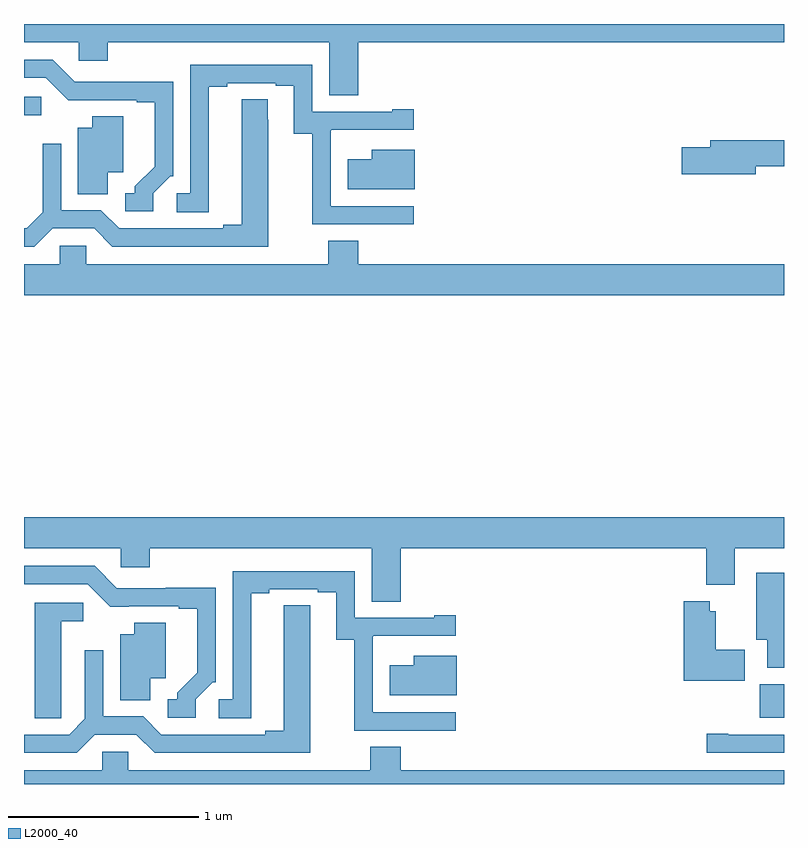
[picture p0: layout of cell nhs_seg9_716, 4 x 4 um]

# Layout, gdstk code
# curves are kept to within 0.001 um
import gdstk
lib = gdstk.Library(unit=1e-6, precision=1e-09)
def R(c, l, rs):  # rectangles x0, y0, x1, y1
    for r in rs: c.add(gdstk.rectangle(r[:2], r[2:], *l))
def P(c, l, *ps):  # polygons
    for p in ps: c.add(gdstk.Polygon(p, *l))
L2000_40 = (2000, 40)

nhs_seg9_716 = lib.new_cell('nhs_seg9_716')
R(nhs_seg9_716, L2000_40, [(150.872,1208.849,151,1209.025), (147,1212.02,147.091,1212.117)])
P(nhs_seg9_716, L2000_40, [(148.76,1212.404),(151,1212.404),(151,1212.5),(147,1212.5),(147,1212.404),(147.288,1212.404),(147.288,1212.306),(147.44,1212.306),(147.44,1212.404),(148.607,1212.404),(148.607,1212.124),(148.76,1212.124)],
  [(147.681,1211.61),(147.771,1211.7),(147.786,1211.7),(147.786,1212.197),(147.523,1212.197),(147.523,1212.195),(147.267,1212.195),(147.15,1212.312),(147,1212.312),(147,1212.216),(147.114,1212.216),(147.232,1212.098),(147.593,1212.099),(147.593,1212.087),(147.689,1212.087),(147.689,1211.75),(147.584,1211.645),(147.584,1211.61),(147.534,1211.61),(147.534,1211.514),(147.681,1211.514)],
  [(149.05,1211.541),(148.614,1211.541),(148.614,1211.942),(148.616,1211.942),(148.616,1211.943),(149.05,1211.943),(149.05,1212.052),(148.937,1212.052),(148.937,1212.039),(148.518,1212.039),(148.518,1212.285),(147.876,1212.285),(147.876,1211.61),(147.804,1211.61),(147.804,1211.509),(147.973,1211.509),(147.973,1212.169),(148.069,1212.169),(148.069,1212.189),(148.325,1212.189),(148.325,1212.174),(148.421,1212.174),(148.421,1211.923),(148.516,1211.923),(148.516,1211.445),(149.05,1211.445)],
  [(147.151,1211.424),(147.369,1211.424),(147.465,1211.328),(148.285,1211.328),(148.284,1212.104),(148.145,1212.104),(148.145,1211.444),(148.049,1211.444),(148.049,1211.424),(147.501,1211.424),(147.405,1211.52),(147.195,1211.52),(147.195,1211.869),(147.099,1211.869),(147.099,1211.508),(147.015,1211.424),(147,1211.424),(147,1211.328),(147.055,1211.328)],
  [(147.442,1211.72),(147.523,1211.72),(147.523,1212.014),(147.359,1212.014),(147.359,1211.953),(147.284,1211.953),(147.284,1211.605),(147.442,1211.605)],
  [(150.85,1211.752),(151,1211.752),(151,1211.888),(150.611,1211.888),(150.611,1211.852),(150.462,1211.852),(150.462,1211.71),(150.85,1211.71)],
  [(149.056,1211.839),(148.829,1211.839),(148.829,1211.788),(148.704,1211.788),(148.704,1211.63),(149.056,1211.63)],
  [(151,1211.236),(148.76,1211.236),(148.76,1211.36),(148.6,1211.36),(148.6,1211.236),(147.327,1211.236),(147.327,1211.334),(147.189,1211.334),(147.189,1211.236),(147,1211.236),(147,1211.072),(151,1211.072)],
  [(148.982,1209.74),(150.59,1209.74),(150.59,1209.548),(150.742,1209.548),(150.742,1209.74),(151,1209.74),(151,1209.904),(147,1209.904),(147,1209.74),(147.51,1209.74),(147.51,1209.642),(147.662,1209.642),(147.662,1209.74),(148.829,1209.74),(148.829,1209.46),(148.982,1209.46)],
  [(147.903,1208.946),(147.993,1209.036),(148.008,1209.036),(148.008,1209.533),(147.745,1209.533),(147.745,1209.531),(147.489,1209.531),(147.372,1209.648),(147,1209.648),(147,1209.552),(147.336,1209.552),(147.454,1209.434),(147.815,1209.435),(147.815,1209.423),(147.911,1209.423),(147.911,1209.086),(147.806,1208.981),(147.806,1208.946),(147.756,1208.946),(147.756,1208.85),(147.903,1208.85)],
  [(149.272,1208.877),(148.836,1208.877),(148.836,1209.278),(148.838,1209.278),(148.838,1209.279),(149.272,1209.279),(149.272,1209.388),(149.159,1209.388),(149.159,1209.375),(148.74,1209.375),(148.74,1209.621),(148.098,1209.621),(148.098,1208.946),(148.026,1208.946),(148.026,1208.845),(148.195,1208.845),(148.195,1209.505),(148.291,1209.505),(148.291,1209.525),(148.547,1209.525),(148.547,1209.51),(148.643,1209.51),(148.643,1209.259),(148.738,1209.259),(148.738,1208.781),(149.272,1208.781)],
  [(151,1209.613),(150.854,1209.613),(150.854,1209.26),(150.911,1209.26),(150.911,1209.113),(151,1209.113)],
  [(150.793,1209.207),(150.64,1209.207),(150.64,1209.409),(150.61,1209.409),(150.61,1209.463),(150.473,1209.463),(150.473,1209.044),(150.793,1209.044)],
  [(147.195,1208.953),(147.196,1208.953),(147.196,1209.356),(147.313,1209.356),(147.313,1209.453),(147.056,1209.453),(147.056,1208.845),(147.195,1208.845)],
  [(147.373,1208.76),(147.591,1208.76),(147.687,1208.664),(148.507,1208.664),(148.506,1209.44),(148.367,1209.44),(148.367,1208.78),(148.271,1208.78),(148.271,1208.76),(147.723,1208.76),(147.627,1208.856),(147.417,1208.856),(147.417,1209.205),(147.321,1209.205),(147.321,1208.844),(147.237,1208.76),(147,1208.76),(147,1208.664),(147.277,1208.664)],
  [(147.664,1209.056),(147.745,1209.056),(147.745,1209.35),(147.581,1209.35),(147.581,1209.289),(147.506,1209.289),(147.506,1208.941),(147.664,1208.941)],
  [(149.278,1209.175),(149.051,1209.175),(149.051,1209.124),(148.926,1209.124),(148.926,1208.966),(149.278,1208.966)],
  [(151,1208.76),(150.706,1208.76),(150.706,1208.765),(150.594,1208.765),(150.594,1208.664),(151,1208.664)],
  [(151,1208.572),(148.982,1208.572),(148.982,1208.696),(148.822,1208.696),(148.822,1208.572),(147.549,1208.572),(147.549,1208.67),(147.411,1208.67),(147.411,1208.572),(147,1208.572),(147,1208.5),(151,1208.5)])

lib.write_gds('nhs_seg9_716.gds')
